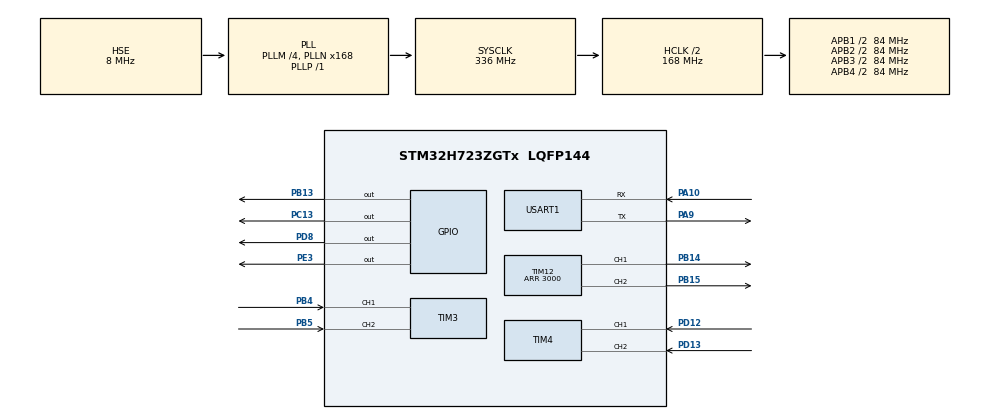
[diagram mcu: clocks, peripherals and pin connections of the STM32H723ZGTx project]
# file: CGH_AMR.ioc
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Dma.Request0=USART1_RX
Dma.Request1=USART1_TX
Dma.USART1_RX.0.Direction=DMA_PERIPH_TO_MEMORY
Dma.USART1_RX.0.EventEnable=DISABLE
Dma.USART1_RX.0.FIFOMode=DMA_FIFOMODE_DISABLE
Dma.USART1_RX.0.Instance=DMA1_Stream0
Dma.USART1_RX.0.MemDataAlignment=DMA_MDATAALIGN_BYTE
Dma.USART1_RX.0.MemInc=DMA_MINC_ENABLE
Dma.USART1_RX.0.Mode=DMA_CIRCULAR
Dma.USART1_RX.0.PeriphDataAlignment=DMA_PDATAALIGN_BYTE
Dma.USART1_RX.0.PeriphInc=DMA_PINC_DISABLE
Dma.USART1_RX.0.Polarity=HAL_DMAMUX_REQ_GEN_RISING
Dma.USART1_RX.0.Priority=DMA_PRIORITY_HIGH
Dma.USART1_RX.0.RequestNumber=1
Dma.USART1_RX.0.SignalID=NONE
Dma.USART1_RX.0.SyncEnable=DISABLE
Dma.USART1_RX.0.SyncPolarity=HAL_DMAMUX_SYNC_NO_EVENT
Dma.USART1_RX.0.SyncRequestNumber=1
Dma.USART1_RX.0.SyncSignalID=NONE
Dma.USART1_TX.1.Direction=DMA_MEMORY_TO_PERIPH
Dma.USART1_TX.1.EventEnable=DISABLE
Dma.USART1_TX.1.FIFOMode=DMA_FIFOMODE_DISABLE
Dma.USART1_TX.1.Instance=DMA1_Stream1
Dma.USART1_TX.1.MemDataAlignment=DMA_MDATAALIGN_BYTE
Dma.USART1_TX.1.MemInc=DMA_MINC_ENABLE
Dma.USART1_TX.1.Mode=DMA_NORMAL
Dma.USART1_TX.1.PeriphDataAlignment=DMA_PDATAALIGN_BYTE
Dma.USART1_TX.1.PeriphInc=DMA_PINC_DISABLE
Dma.USART1_TX.1.Polarity=HAL_DMAMUX_REQ_GEN_RISING
Dma.USART1_TX.1.Priority=DMA_PRIORITY_HIGH
Dma.USART1_TX.1.RequestNumber=1
Dma.USART1_TX.1.SignalID=NONE
Dma.USART1_TX.1.SyncEnable=DISABLE
Dma.USART1_TX.1.SyncPolarity=HAL_DMAMUX_SYNC_NO_EVENT
Dma.USART1_TX.1.SyncRequestNumber=1
Dma.USART1_TX.1.SyncSignalID=NONE
Mcu.Family=STM32H7
Mcu.Name=STM32H723ZGTx
Mcu.Package=LQFP144
NVIC.DMA1_Stream0_IRQn=true\:0\:0\:false\:false\:true\:false\:true\:true
NVIC.DMA1_Stream1_IRQn=true\:0\:0\:false\:false\:true\:false\:true\:true
NVIC.PriorityGroup=NVIC_PRIORITYGROUP_4
NVIC.TIM23_IRQn=true\:0\:0\:false\:false\:true\:true\:true\:true
NVIC.TIM3_IRQn=true\:0\:0\:false\:false\:true\:true\:true\:true
NVIC.TIM4_IRQn=true\:0\:0\:false\:false\:true\:true\:true\:true
NVIC.USART1_IRQn=true\:0\:0\:false\:false\:true\:true\:true\:true
PA10.Mode=Asynchronous
PA10.Signal=USART1_RX
PA9.Mode=Asynchronous
PA9.Signal=USART1_TX
PB13.Signal=GPIO_Output
PB14.Signal=S_TIM12_CH1
PB15.Signal=S_TIM12_CH2
PB4(NJTRST).Signal=S_TIM3_CH1
PB5.Signal=S_TIM3_CH2
PC13.Signal=GPIO_Output
PD12.Signal=S_TIM4_CH1
PD13.Signal=S_TIM4_CH2
PD8.Signal=GPIO_Output
PE3.Signal=GPIO_Output
PH0-OSC_IN.Mode=HSE-External-Oscillator
PH0-OSC_IN.Signal=RCC_OSC_IN
PH1-OSC_OUT.Mode=HSE-External-Oscillator
PH1-OSC_OUT.Signal=RCC_OSC_OUT
ProjectManager.HeapSize=0x200
ProjectManager.StackSize=0x400
ProjectManager.TargetToolchain=STM32CubeIDE
RCC.ADCFreq_Value=76000000
RCC.APB1Freq_Value=84000000
RCC.APB2Freq_Value=84000000
RCC.APB3Freq_Value=84000000
RCC.APB4Freq_Value=84000000
RCC.CortexFreq_Value=336000000
RCC.D1PPRE=RCC_APB3_DIV2
RCC.D2PPRE1=RCC_APB1_DIV2
RCC.D2PPRE2=RCC_APB2_DIV2
RCC.D3PPRE=RCC_APB4_DIV2
RCC.DIVM1=4
RCC.DIVM2=1
RCC.DIVN1=168
RCC.DIVN2=19
RCC.DIVP1=1
RCC.DIVQ1=4
RCC.HCLKFreq_Value=168000000
RCC.HPRE=RCC_HCLK_DIV2
RCC.HSE_VALUE=8000000
RCC.PLLFRACN=0
RCC.PLLSourceVirtual=RCC_PLLSOURCE_HSE
RCC.SYSCLKFreq_VALUE=336000000
RCC.SYSCLKSource=RCC_SYSCLKSOURCE_PLLCLK
RCC.USBCLockSelection=RCC_USBCLKSOURCE_HSI48
RCC.USBFreq_Value=48000000
SH.S_TIM12_CH1.0=TIM12_CH1,PWM Generation1 CH1
SH.S_TIM12_CH2.0=TIM12_CH2,PWM Generation2 CH2
SH.S_TIM3_CH1.0=TIM3_CH1,Encoder_Interface
SH.S_TIM3_CH2.0=TIM3_CH2,Encoder_Interface
SH.S_TIM4_CH1.0=TIM4_CH1,Encoder_Interface
SH.S_TIM4_CH2.0=TIM4_CH2,Encoder_Interface
TIM12.Channel-PWM\ Generation1\ CH1=TIM_CHANNEL_1
TIM12.Channel-PWM\ Generation2\ CH2=TIM_CHANNEL_2
TIM12.Period=3000
TIM23.Period=11999
TIM23.Prescaler=13
TIM3.EncoderMode=TIM_ENCODERMODE_TI12
TIM4.EncoderMode=TIM_ENCODERMODE_TI12
USART1.VirtualMode-Asynchronous=VM_ASYNC
VP_TIM23_VS_ClockSourceINT.Mode=Internal
board=NUCLEO-H723ZG

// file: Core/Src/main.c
/* USER CODE BEGIN Header */
/**
  ******************************************************************************
  * @file           : main.c
  * @brief          : Main program body
  ******************************************************************************
  * @attention
  *
  * Copyright (c) 2023 STMicroelectronics.
  * All rights reserved.
  *
  * This software is licensed under terms that can be found in the LICENSE file
  * in the root directory of this software component.
  * If no LICENSE file comes with this software, it is provided AS-IS.
  *
  ******************************************************************************
  */
/* USER CODE END Header */
#include "main.h"
#include "dma.h"
#include "tim.h"
#include "usart.h"
#include "gpio.h"

/* USER CODE BEGIN PV */
int odom_count;
/* USER CODE END PV */

void SystemClock_Config(void);

int main(void)
{

  /* MCU Configuration--------------------------------------------------------*/

  /* Reset of all peripherals, Initializes the Flash interface and the Systick. */
  HAL_Init();

  /* Configure the system clock */
  SystemClock_Config();

  /* Initialize all configured peripherals */
  MX_GPIO_Init();
  MX_DMA_Init();
  MX_USART1_UART_Init();
  MX_TIM12_Init();
  MX_TIM23_Init();
  MX_TIM3_Init();
  MX_TIM4_Init();
  /* USER CODE BEGIN 2 */

  HAL_TIM_Base_Start_IT(&Encoder_Interrupt_timer);
  Control_Init();
  Rosserial_Init();
  odom_count = 0;
  LED_Init();
  /* USER CODE END 2 */

  /* Infinite loop */
  while (1)
  {

    /* USER CODE BEGIN 3 */
//  	HAL_GPIO_WritePin(GPIOB, GPIO_PIN_13, GPIO_PIN_SET);
//  	HAL_GPIO_WritePin(MR_DIR_Pin, MR_DIR_GPIO_port, GPIO_PIN_SET);
//  	__HAL_TIM_SET_COMPARE(&Wheel_R.pwm_timer, Wheel_R.pwm_timer_channel, 1000);
//  	HAL_GPIO_WritePin(ML_DIR_Pin, ML_DIR_GPIO_port, GPIO_PIN_SET);
//  	__HAL_TIM_SET_COMPARE(&Wheel_L.pwm_timer, Wheel_L.pwm_timer_channel, 1000);
//  	Rosserial_Spin();
  }
  /* USER CODE END 3 */
}

void SystemClock_Config(void)
{
  RCC_OscInitTypeDef RCC_OscInitStruct = {0};
  RCC_ClkInitTypeDef RCC_ClkInitStruct = {0};

  /** Supply configuration update enable
  */
  HAL_PWREx_ConfigSupply(PWR_LDO_SUPPLY);

  /** Configure the main internal regulator output voltage
  */
  __HAL_PWR_VOLTAGESCALING_CONFIG(PWR_REGULATOR_VOLTAGE_SCALE1);

  while(!__HAL_PWR_GET_FLAG(PWR_FLAG_VOSRDY)) {}

  /** Initializes the RCC Oscillators according to the specified parameters
  * in the RCC_OscInitTypeDef structure.
  */
  RCC_OscInitStruct.OscillatorType = RCC_OSCILLATORTYPE_HSE;
  RCC_OscInitStruct.HSEState = RCC_HSE_ON;
  RCC_OscInitStruct.PLL.PLLState = RCC_PLL_ON;
  RCC_OscInitStruct.PLL.PLLSource = RCC_PLLSOURCE_HSE;
  RCC_OscInitStruct.PLL.PLLM = 4;
  RCC_OscInitStruct.PLL.PLLN = 168;
  RCC_OscInitStruct.PLL.PLLP = 1;
  RCC_OscInitStruct.PLL.PLLQ = 4;
  RCC_OscInitStruct.PLL.PLLR = 2;
  RCC_OscInitStruct.PLL.PLLRGE = RCC_PLL1VCIRANGE_1;
  RCC_OscInitStruct.PLL.PLLVCOSEL = RCC_PLL1VCOWIDE;
  RCC_OscInitStruct.PLL.PLLFRACN = 0;
  if (HAL_RCC_OscConfig(&RCC_OscInitStruct) != HAL_OK)
  {
    Error_Handler();
  }

  /** Initializes the CPU, AHB and APB buses clocks
  */
  RCC_ClkInitStruct.ClockType = RCC_CLOCKTYPE_HCLK|RCC_CLOCKTYPE_SYSCLK
                              |RCC_CLOCKTYPE_PCLK1|RCC_CLOCKTYPE_PCLK2
                              |RCC_CLOCKTYPE_D3PCLK1|RCC_CLOCKTYPE_D1PCLK1;
  RCC_ClkInitStruct.SYSCLKSource = RCC_SYSCLKSOURCE_PLLCLK;
  RCC_ClkInitStruct.SYSCLKDivider = RCC_SYSCLK_DIV1;
  RCC_ClkInitStruct.AHBCLKDivider = RCC_HCLK_DIV2;
  RCC_ClkInitStruct.APB3CLKDivider = RCC_APB3_DIV2;
  RCC_ClkInitStruct.APB1CLKDivider = RCC_APB1_DIV2;
  RCC_ClkInitStruct.APB2CLKDivider = RCC_APB2_DIV2;
  RCC_ClkInitStruct.APB4CLKDivider = RCC_APB4_DIV2;

  if (HAL_RCC_ClockConfig(&RCC_ClkInitStruct, FLASH_LATENCY_2) != HAL_OK)
  {
    Error_Handler();
  }
}

/* USER CODE BEGIN 4 */
void HAL_TIM_PeriodElapsedCallback(TIM_HandleTypeDef *htim)
{
	if(htim->Instance == Encoder_Interrupt_timer.Instance)
	{
		odom_count++;
		if(odom_count == 10)
		{
			odom_count = 0;
			odom_publish();
		}

		Rosserial_Spin();
//		Wheel_L.goal = 0.0;
//		Wheel_R.goal = 0.0;

		if (Rosserial_Checkconfigstate() == false)
		{
			linearvelocity_x = 0.0;
			linearvelocity_y = 0.0;
			angularvelocity = 0.0;
		}

		Forward_Kinematics(linearvelocity_x, linearvelocity_y, angularvelocity);
		PID_Controller(&Wheel_L);
		PID_Controller(&Wheel_R);
		Inverse_Kinematics(&Wheel_L, &Wheel_R);

//		if(LED_state != 0)
//		{
//			LED_Control(LED_state);
//		}
	}
}

void HAL_UART_ErrorCallback(UART_HandleTypeDef *huart)
{
	if(huart == &huart1)
	{
		linearvelocity_x = 0;
		linearvelocity_y = 0;
		angularvelocity = 0;
		HAL_UART_DeInit(&huart1);
		MX_USART1_UART_Init();
		Rosserial_GetHardware();
	}
}
/* USER CODE END 4 */

void Error_Handler(void)
{
  __disable_irq();
  while (1)
  {
  }
}
